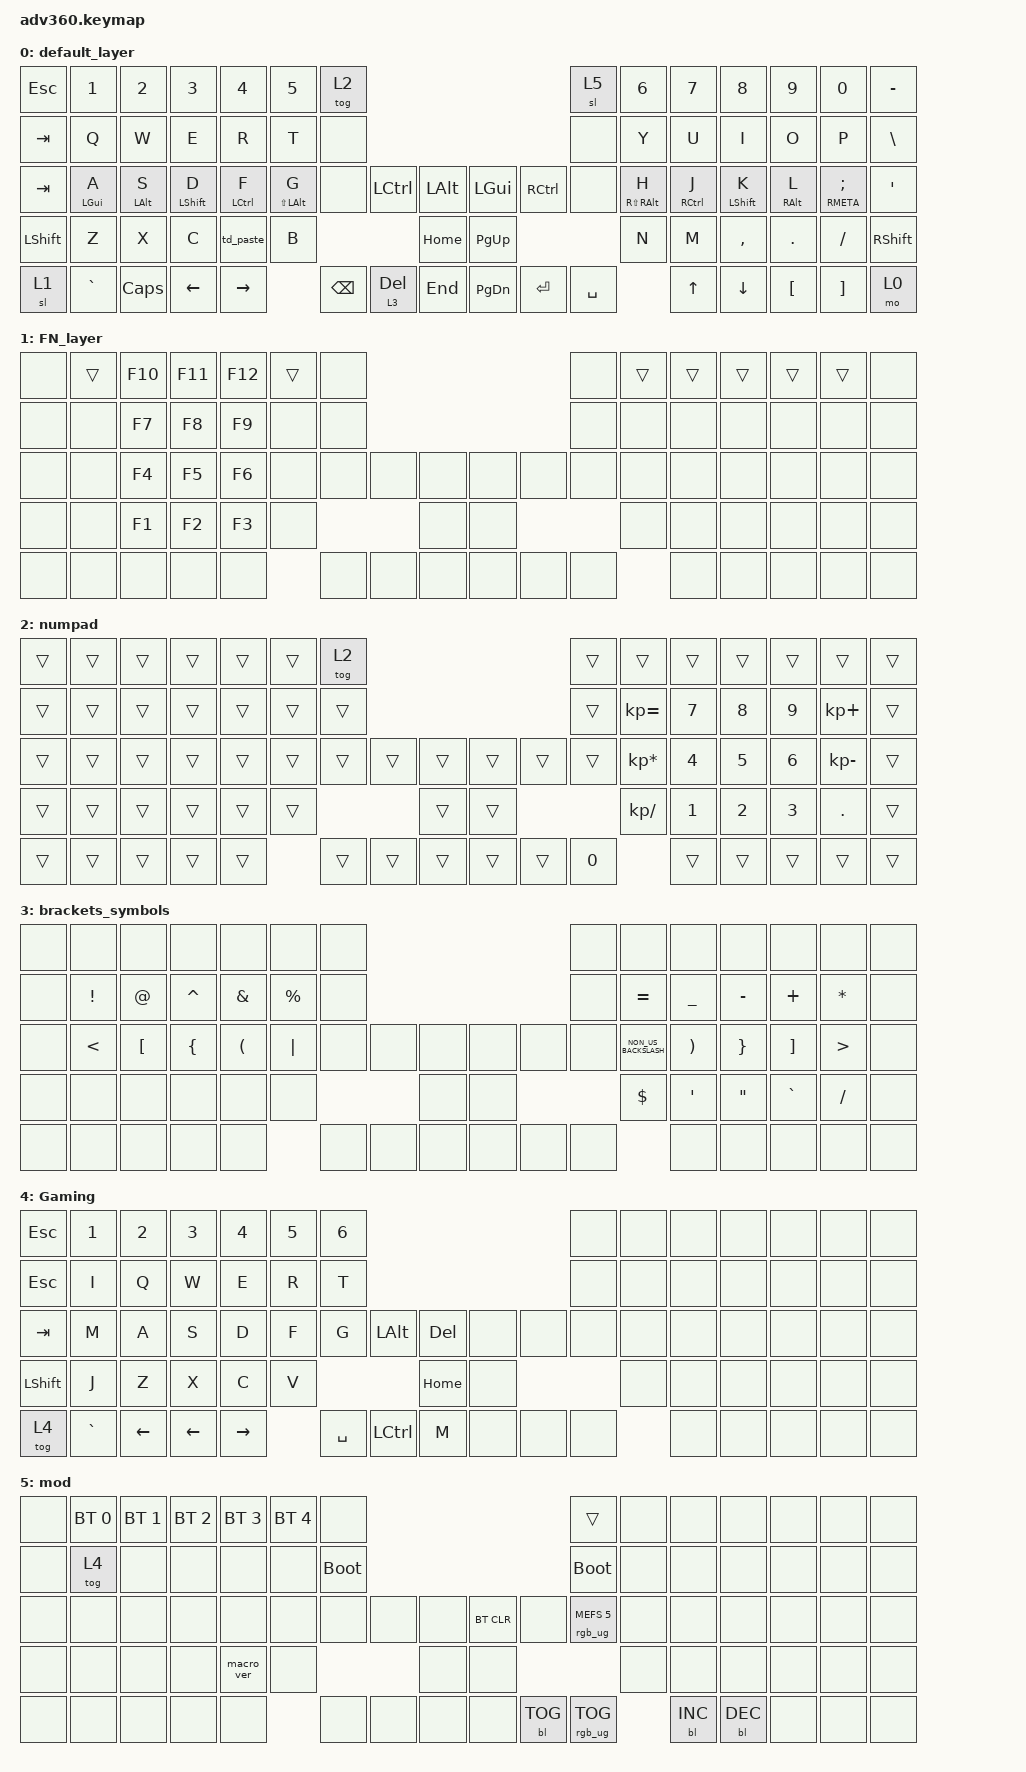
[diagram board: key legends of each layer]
#include <behaviors.dtsi>
#include <dt-bindings/zmk/backlight.h>
#include <dt-bindings/zmk/bt.h>
#include <dt-bindings/zmk/keys.h>
#include <dt-bindings/zmk/rgb.h>

/ {
    behaviors {
        #include "macros.dtsi"
      #include "version.dtsi"
      #ifndef VERSION_MACRO

        macro_ver: macro_ver {
            compatible = "zmk,behavior-macro";
            label = "macro_version";
            #binding-cells = <0>;
            bindings = <&kp RET>;
        };

        #endif

        hml: hml {
            compatible = "zmk,behavior-hold-tap";
            label = "hml";
            #binding-cells = <2>;
            tapping-term-ms = <280>;
            flavor = "balanced";
            bindings = <&kp>, <&kp>;

            quick-tap-ms = <150>;
            hold-trigger-on-release;
            hold-trigger-key-positions = <0 1 2 3 4 5 6 14 15 16 17 18 19 20 28 29 30 31 32 33 34 35 36 46 47 48 49 50 51 52 60 61 62 63 64 65 66 67 37 38 53 68 69 70>;
        };

        hmr: hmr {
            compatible = "zmk,behavior-hold-tap";
            label = "HMR";
            bindings = <&kp>, <&kp>;

            #binding-cells = <2>;
            tapping-term-ms = <280>;
            quick-tap-ms = <150>;
            flavor = "balanced";
            hold-trigger-on-release;
            hold-trigger-key-positions = <7 8 9 10 11 12 13 21 22 23 24 25 26 27 37 38 39 40 41 42 43 44 45 53 54 55 56 57 58 59 68 69 70 71 72 73 74 75 35 36 52 65 66 67>;
        };

        td_paste: tdpaste {
            compatible = "zmk,behavior-tap-dance";
            label = "Tap_Dance_Paste";
            #binding-cells = <0>;
            bindings = <&kp V>, <&kp LC(V)>;
        };

        hlayer: hlayer {
            compatible = "zmk,behavior-hold-tap";
            label = "HLAYER";
            bindings = <&mo>, <&kp>;

            #binding-cells = <2>;
            hold-trigger-key-positions = <52 53 65 66 67 68 69 70 35 36 37 38 52 53 66 69 70>;
            tapping-term-ms = <100>;
            quick-tap-ms = <50>;
            require-prior-idle-ms = <0>;
        };
    };

    macros {
    };

    keymap {
        compatible = "zmk,keymap";

        default_layer {
            bindings = <
&kp ESCAPE  &kp N1           &kp N2           &kp N3         &kp N4        &kp N5               &tog 2                                                          &sl 5      &kp N6                &kp N7                &kp N8             &kp N9            &kp N0                &kp MINUS
&kp TAB     &kp Q            &kp W            &kp E          &kp R         &kp T                &none                                                           &none      &kp Y                 &kp U                 &kp I              &kp O             &kp P                 &kp BSLH
&kp TAB     &hml LEFT_GUI A  &hml LEFT_ALT S  &hml LSHIFT D  &hml LCTRL F  &hml LS(LEFT_ALT) G  &none     &kp LCTRL         &kp LALT      &kp LGUI   &kp RCTRL  &none      &hmr RS(RIGHT_ALT) H  &hmr RIGHT_CONTROL J  &hmr LEFT_SHIFT K  &hmr RIGHT_ALT L  &hmr RMETA SEMICOLON  &kp SQT
&kp LSHFT   &kp Z            &kp X            &kp C          &td_paste     &kp B                                            &kp HOME      &kp PG_UP                        &kp N                 &kp M                 &kp COMMA          &kp DOT           &kp FSLH              &kp RSHFT
&sl 1       &kp GRAVE        &kp CAPS         &kp LEFT       &kp RIGHT                          &kp BSPC  &hlayer 3 DELETE  &kp END       &kp PG_DN  &kp ENTER  &kp SPACE                        &kp UP                &kp DOWN           &kp LBKT          &kp RBKT              &mo 0
            >;
        };

        FN_layer {
            bindings = <
&none  &trans  &kp F10  &kp F11  &kp F12  &trans  &none                                  &none  &trans  &trans  &trans  &trans  &trans  &none
&none  &none   &kp F7   &kp F8   &kp F9   &none   &none                                  &none  &none   &none   &none   &none   &none   &none
&none  &none   &kp F4   &kp F5   &kp F6   &none   &none  &none  &none      &none  &none  &none  &none   &none   &none   &none   &none   &none
&none  &none   &kp F1   &kp F2   &kp F3   &none                 &none      &none                &none   &none   &none   &none   &none   &none
&none  &none   &none    &none    &none            &none  &none  &none      &none  &none  &none          &none   &none   &none   &none   &none
            >;
        };

        numpad {
            bindings = <
&trans  &trans  &trans  &trans  &trans  &trans  &tog 2                                      &trans  &trans           &trans  &trans  &trans  &trans        &trans
&trans  &trans  &trans  &trans  &trans  &trans  &trans                                      &trans  &kp KP_EQUAL     &kp N7  &kp N8  &kp N9  &kp KP_PLUS   &trans
&trans  &trans  &trans  &trans  &trans  &trans  &trans  &trans  &trans      &trans  &trans  &trans  &kp KP_MULTIPLY  &kp N4  &kp N5  &kp N6  &kp KP_MINUS  &trans
&trans  &trans  &trans  &trans  &trans  &trans                  &trans      &trans                  &kp KP_DIVIDE    &kp N1  &kp N2  &kp N3  &kp DOT       &trans
&trans  &trans  &trans  &trans  &trans          &trans  &trans  &trans      &trans  &trans  &kp N0                   &trans  &trans  &trans  &trans        &trans
            >;
        };

        brackets_symbols {
            bindings = <
&none  &none          &none             &none           &none                 &none        &none                                  &none  &none                 &none                  &none              &none              &none             &none
&none  &kp EXCL       &kp AT            &kp CARET       &kp AMPS              &kp PERCENT  &none                                  &none  &kp EQUAL             &kp UNDER              &kp MINUS          &kp PLUS           &kp ASTERISK      &none
&none  &kp LESS_THAN  &kp LEFT_BRACKET  &kp LEFT_BRACE  &kp LEFT_PARENTHESIS  &kp PIPE     &none  &none  &none      &none  &none  &none  &kp NON_US_BACKSLASH  &kp RIGHT_PARENTHESIS  &kp RIGHT_BRACE    &kp RIGHT_BRACKET  &kp GREATER_THAN  &none
&none  &none          &none             &none           &none                 &none                      &none      &none                &kp DOLLAR            &kp SINGLE_QUOTE       &kp DOUBLE_QUOTES  &kp GRAVE          &kp SLASH         &none
&none  &none          &none             &none           &none                              &none  &none  &none      &none  &none  &none                        &none                  &none              &none              &none             &none
            >;
        };

        Gaming {
            bindings = <
&kp ESC    &kp N1     &kp N2    &kp N3    &kp N4     &kp N5  &kp N6                                            &none  &none  &none  &none  &none  &none  &none
&kp ESC    &kp I      &kp Q     &kp W     &kp E      &kp R   &kp T                                             &none  &none  &none  &none  &none  &none  &none
&kp TAB    &kp M      &kp A     &kp S     &kp D      &kp F   &kp G      &kp LALT   &kp DEL       &none  &none  &none  &none  &none  &none  &none  &none  &none
&kp LSHFT  &kp J      &kp Z     &kp X     &kp C      &kp V                         &kp HOME      &none                &none  &none  &none  &none  &none  &none
&tog 4     &kp GRAVE  &kp LEFT  &kp LEFT  &kp RIGHT          &kp SPACE  &kp LCTRL  &kp M         &none  &none  &none         &none  &none  &none  &none  &none
            >;
        };

        mod {
            bindings = <
&none  &bt BT_SEL 0  &bt BT_SEL 1  &bt BT_SEL 2  &bt BT_SEL 3  &bt BT_SEL 4  &none                                                  &trans                  &none  &none       &none       &none  &none  &none
&none  &tog 4        &none         &none         &none         &none         &bootloader                                            &bootloader             &none  &none       &none       &none  &none  &none
&none  &none         &none         &none         &none         &none         &none        &none  &none      &bt BT_CLR  &none       &rgb_ug RGB_MEFS_CMD 5  &none  &none       &none       &none  &none  &none
&none  &none         &none         &none         &macro_ver    &none                             &none      &none                                           &none  &none       &none       &none  &none  &none
&none  &none         &none         &none         &none                       &none        &none  &none      &none       &bl BL_TOG  &rgb_ug RGB_TOG                &bl BL_INC  &bl BL_DEC  &none  &none  &none
            >;
        };
    };
};
